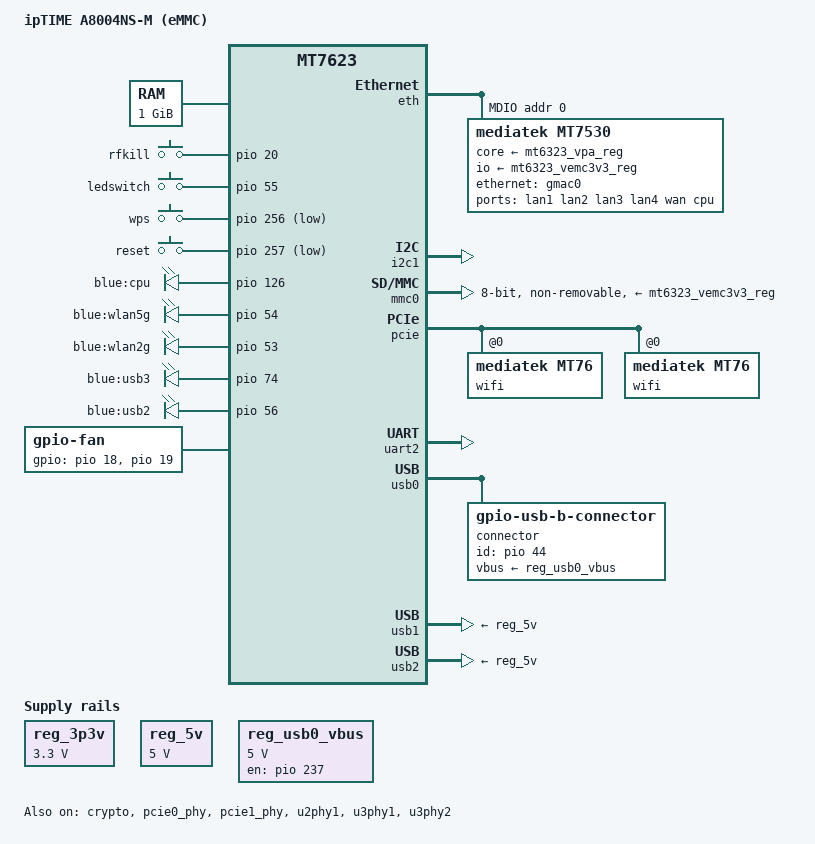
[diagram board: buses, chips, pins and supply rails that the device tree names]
// SPDX-License-Identifier: GPL-2.0-or-later OR MIT
/*
 * Copyright 2019-2021 Sungbo Eo <mans0n@gorani.run>
 *
 * Based on Unielec U7623-02 dts
 * Copyright 2018 Kristian Evensen <kristian.evensen@gmail.com>
 */

/dts-v1/;
#include <dt-bindings/input/input.h>
#include "mt7623a.dtsi"
#include "mt6323.dtsi"

/ {
	model = "ipTIME A8004NS-M (eMMC)";
	compatible = "iptime,a8004ns-m-emmc", "mediatek,mt7623";

	aliases {
		serial2 = &uart2;
		led-boot = &led_cpu;
		led-failsafe = &led_cpu;
		led-running = &led_cpu;
		led-upgrade = &led_cpu;
	};

	chosen {
		// bootargs = "root=/dev/mmcblk0p2 rootfstype=squashfs,f2fs";
		bootargs = "earlycon=uart8250,mmio32,0x11004000 console=ttyS0,115200n8";
		stdout-path = "serial2:115200n8";
	};

	memory@80000000 {
		device_type = "memory";
		reg = <0 0x80000000 0 0x40000000>;
	};

	cpus {
		cpu@0 {
			proc-supply = <&mt6323_vproc_reg>;
		};

		cpu@1 {
			proc-supply = <&mt6323_vproc_reg>;
		};

		cpu@2 {
			proc-supply = <&mt6323_vproc_reg>;
		};

		cpu@3 {
			proc-supply = <&mt6323_vproc_reg>;
		};
	};

	keys {
		compatible = "gpio-keys-polled";
		poll-interval = <20>;
		pinctrl-names = "default";
		pinctrl-0 = <&key_pins>;

		rfkill {
			label = "rfkill";
			linux,input-type = <EV_SW>;
			linux,code = <KEY_RFKILL>;
			gpios = <&pio 20 GPIO_ACTIVE_HIGH>;
		};

		ledswitch {
			label = "ledswitch";
			linux,input-type = <EV_SW>;
			linux,code = <KEY_LIGHTS_TOGGLE>;
			gpios = <&pio 55 GPIO_ACTIVE_HIGH>;
		};

		wps {
			label = "wps";
			linux,code = <KEY_WPS_BUTTON>;
			gpios = <&pio 256 GPIO_ACTIVE_LOW>;
		};

		reset {
			label = "reset";
			linux,code = <KEY_RESTART>;
			gpios = <&pio 257 GPIO_ACTIVE_LOW>;
		};
	};

	leds {
		compatible = "gpio-leds";
		pinctrl-names = "default";
		pinctrl-0 = <&led_pins>;

		led_cpu: cpu {
			label = "blue:cpu";
			gpios = <&pio 126 GPIO_ACTIVE_HIGH>;
		};

		wlan5g {
			label = "blue:wlan5g";
			// linux,default-trigger = "phy1tpt";
			gpios = <&pio 54 GPIO_ACTIVE_HIGH>;
		};

		wlan2g {
			label = "blue:wlan2g";
			// linux,default-trigger = "phy0tpt";
			gpios = <&pio 53 GPIO_ACTIVE_HIGH>;
		};

		usb3 {
			label = "blue:usb3";
			trigger-sources = <&u3phy1_port1>;
			linux,default-trigger = "usbport";
			gpios = <&pio 74 GPIO_ACTIVE_HIGH>;
		};

		usb2 {
			label = "blue:usb2";
			trigger-sources = <&u3phy2_port1>;
			linux,default-trigger = "usbport";
			gpios = <&pio 56 GPIO_ACTIVE_HIGH>;
		};
	};

	gpio-fan {
		compatible = "gpio-fan";
		pinctrl-names = "default";
		pinctrl-0 = <&fan_pins>;
		gpios = <&pio 18 GPIO_ACTIVE_HIGH>,
		        <&pio 19 GPIO_ACTIVE_HIGH>;
		/* We don't know the exact rpm, just use dummy values here. */
		gpio-fan,speed-map = <0 0>, <1 1>, <2 2>;
		#cooling-cells = <2>;
	};

	reg_3p3v: regulator-3p3v {
		compatible = "regulator-fixed";
		regulator-name = "fixed-3.3V";
		regulator-min-microvolt = <3300000>;
		regulator-max-microvolt = <3300000>;
		regulator-boot-on;
		regulator-always-on;
	};

	reg_5v: regulator-5v {
		compatible = "regulator-fixed";
		regulator-name = "fixed-5V";
		regulator-min-microvolt = <5000000>;
		regulator-max-microvolt = <5000000>;
		regulator-boot-on;
		regulator-always-on;
	};

	reg_usb0_vbus: regulator-usb0-vbus {
		compatible = "regulator-fixed";
		regulator-name = "usb0_vbus";
		regulator-min-microvolt = <5000000>;
		regulator-max-microvolt = <5000000>;
		gpio = <&pio 237 GPIO_ACTIVE_HIGH>;
		enable-active-high;
	};
};

&crypto {
	status = "okay";
};

&eth {
	status = "okay";

	gmac0: mac@0 {
		compatible = "mediatek,eth-mac";
		reg = <0>;
		phy-mode = "trgmii";

		fixed-link {
			speed = <1000>;
			full-duplex;
			pause;
		};
	};

	mdio-bus {
		#address-cells = <1>;
		#size-cells = <0>;

		mt7530: switch@0 {
			compatible = "mediatek,mt7530";
		};
	};
};

&mt7530 {
	compatible = "mediatek,mt7530";
	reg = <0>;
	mediatek,mcm;
	resets = <&ethsys MT2701_ETHSYS_MCM_RST>;
	reset-names = "mcm";
	core-supply = <&mt6323_vpa_reg>;
	io-supply = <&mt6323_vemc3v3_reg>;

	ports {
		#address-cells = <1>;
		#size-cells = <0>;

		port@0 {
			reg = <0>;
			label = "lan1";
		};

		port@1 {
			reg = <1>;
			label = "lan2";
		};

		port@2 {
			reg = <2>;
			label = "lan3";
		};

		port@3 {
			reg = <3>;
			label = "lan4";
		};

		port@4 {
			reg = <4>;
			label = "wan";
		};

		port@6 {
			reg = <6>;
			label = "cpu";
			ethernet = <&gmac0>;
			phy-mode = "trgmii";

			fixed-link {
				speed = <1000>;
				full-duplex;
				pause;
			};
		};
	};
};

&i2c1 {
	pinctrl-names = "default";
	pinctrl-0 = <&i2c1_pins_b>;
	status = "okay";
};

&mmc0 {
	pinctrl-names = "default", "state_uhs";
	pinctrl-0 = <&mmc0_pins_default>;
	pinctrl-1 = <&mmc0_pins_uhs>;
	status = "okay";
	bus-width = <8>;
	max-frequency = <50000000>;
	cap-mmc-highspeed;
	vmmc-supply = <&mt6323_vemc3v3_reg>;
	vqmmc-supply = <&mt6323_vio18_reg>;
	non-removable;
};

&pcie {
	pinctrl-names = "default";
	pinctrl-0 = <&pcie_default>;
	status = "okay";

	pcie@0,0 {
		status = "okay";

		wifi@0,0 {
			compatible = "mediatek,mt76";
			reg = <0x0000 0 0 0 0>;
			// mediatek,mtd-eeprom = <&factory 0x0>;
			// ieee80211-freq-limit = <2400000 2500000>;
		};
	};

	pcie@1,0 {
		status = "okay";

		wifi@0,0 {
			compatible = "mediatek,mt76";
			reg = <0x0000 0 0 0 0>;
			// mediatek,mtd-eeprom = <&factory 0x8000>;
			// ieee80211-freq-limit = <5000000 6000000>;
		};
	};
};

&pcie0_phy {
	status = "okay";
};

&pcie1_phy {
	status = "okay";
};

&pio {
	fan_pins: fan {
		pins-fan {
			pinmux = <MT7623_PIN_18_PCM_CLK_FUNC_GPIO18>,
			         <MT7623_PIN_19_PCM_SYNC_FUNC_GPIO19>;
		};
	};

	key_pins: keys {
		pins-keys {
			pinmux = <MT7623_PIN_20_PCM_RX_FUNC_GPIO20>,
			         <MT7623_PIN_55_SPI0_MI_FUNC_GPIO55>,
			         <MT7623_PIN_256_GPIO256_FUNC_GPIO256>,
			         <MT7623_PIN_257_GPIO257_FUNC_GPIO257>;
			input-enable;
		};
	};

	led_pins: leds {
		pins-leds {
			pinmux = <MT7623_PIN_53_SPI0_CSN_FUNC_GPIO53>,
			         <MT7623_PIN_54_SPI0_CK_FUNC_GPIO54>,
			         <MT7623_PIN_56_SPI0_MO_FUNC_GPIO56>,
			         <MT7623_PIN_74_I2S0_BCK_FUNC_GPIO74>,
			         <MT7623_PIN_126_I2S0_MCLK_FUNC_GPIO126>;
		};
	};
};

&uart2 {
	pinctrl-names = "default";
	pinctrl-0 = <&uart2_pins_b>;
	status = "okay";
};

&usb0 {
	status = "okay";

	usb-role-switch;

	connector {
		compatible = "gpio-usb-b-connector", "usb-b-connector";
		type = "micro";
		id-gpios = <&pio 44 GPIO_ACTIVE_HIGH>;
		vbus-supply = <&reg_usb0_vbus>;
	};
};

&usb1 {
	status = "okay";

	vusb33-supply = <&reg_3p3v>;
	vbus-supply = <&reg_5v>;
	#address-cells = <1>;
	#size-cells = <0>;

	u3phy1_port1: port@1 {
		reg = <1>;
		#trigger-source-cells = <0>;
	};
};

&usb2 {
	status = "okay";

	vusb33-supply = <&reg_3p3v>;
	vbus-supply = <&reg_5v>;
	#address-cells = <1>;
	#size-cells = <0>;

	u3phy2_port1: port@1 {
		reg = <1>;
		#trigger-source-cells = <0>;
	};
};

&u2phy1 {
	status = "okay";
};

&u3phy1 {
	status = "okay";
};

&u3phy2 {
	status = "okay";
};
